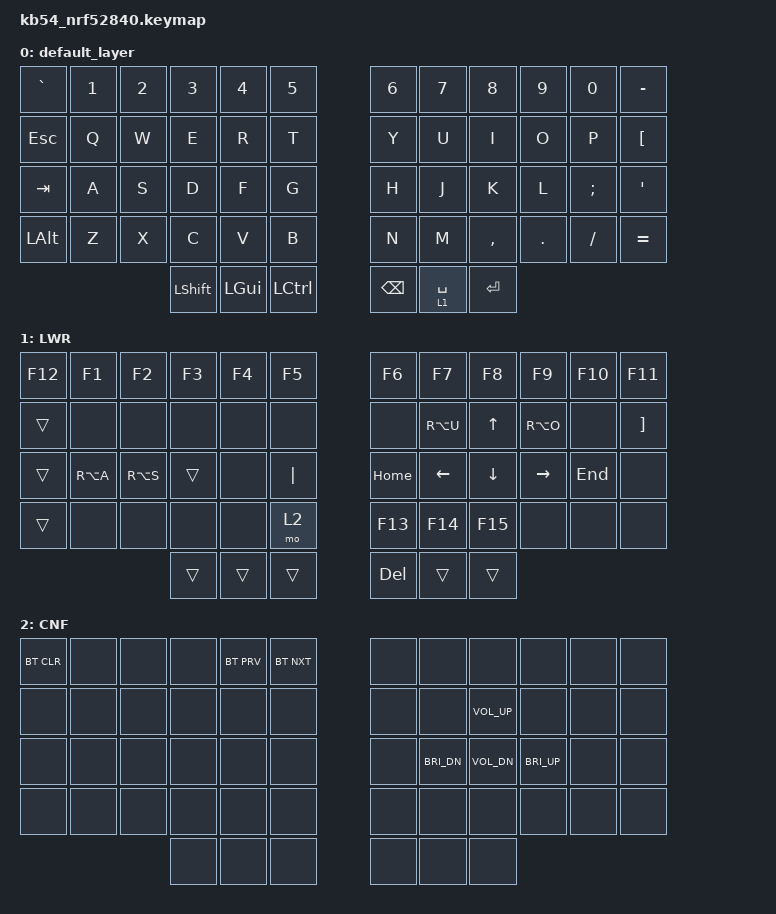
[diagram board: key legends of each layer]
/*
 * Copyright (c) 2020 The ZMK Contributors
 *
 * SPDX-License-Identifier: MIT
 */

#include <behaviors.dtsi>
#include <dt-bindings/zmk/keys.h>
#include <dt-bindings/zmk/bt.h>

/ {
        keymap {
                compatible = "zmk,keymap";

                default_layer {
                        bindings = <
   &kp GRAVE &kp N1 &kp N2 &kp N3 &kp N4 &kp N5       &kp N6 &kp N7 &kp N8    &kp N9  &kp N0   &kp MINUS
   &kp ESC   &kp Q  &kp W  &kp E  &kp R  &kp T        &kp Y  &kp U  &kp I     &kp O   &kp P    &kp LBKT
   &kp TAB   &kp A  &kp S  &kp D  &kp F  &kp G        &kp H  &kp J  &kp K     &kp L   &kp SEMI &kp SQT
   &kp LALT  &kp Z  &kp X  &kp C  &kp V  &kp B        &kp N  &kp M  &kp COMMA &kp DOT &kp FSLH &kp EQUAL
                   &kp LSHFT &kp LGUI &kp LCTRL       &kp BSPC &lt 1 SPC &kp RET
                        >;
                };

                lower_layer {
                    display-name = "LWR";
                    label = "LWR";
                        bindings = <
   &kp F12  &kp F1     &kp F2    &kp F3  &kp F4  &kp F5        &kp F6     &kp F7      &kp F8     &kp F9     &kp F10  &kp F11
   &trans   &none      &none     &none   &none   &none         &none      &kp RA(U)   &kp UP     &kp RA(O)  &none    &kp RBKT
   &trans   &kp RA(A)  &kp RA(S) &trans  &none   &kp PIPE      &kp HOME   &kp LEFT    &kp DOWN   &kp RIGHT  &kp END  &none
   &trans   &none      &none     &none   &none   &mo 2         &kp F13    &kp F14     &kp F15    &none      &none    &none
                                 &trans  &trans  &trans        &kp DEL    &trans     &trans
                        >;
                };

                raise_layer {
                    display-name = "CNF";
                    label = "CNF";
                        bindings = <
   &bt BT_CLR &none &none &none &bt BT_PRV &bt BT_NXT         &none &none &none &none &none &none
   &none &none &none &none &none &none                        &none &none &kp C_VOL_UP &none &none &none
   &none &none &none &none &none &none                        &none &kp C_BRI_DN &kp C_VOL_DN &kp C_BRI_UP &none &none
   &none &none &none &none &none &none                        &none &none &none &none &none &none
                     &none &none &none                        &none &none &none
                        >;
                };
        };
};
